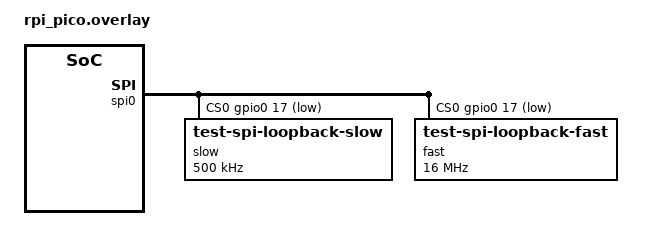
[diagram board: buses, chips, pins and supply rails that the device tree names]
/*
 * Copyright (c) 2022 TOKITA Hiroshi <tokita.hiroshi@fujitsu.com>
 *
 * SPDX-License-Identifier: Apache-2.0
 */

&spi0 {
	cs-gpios = <&gpio0 17 GPIO_ACTIVE_LOW>;
	slow@0 {
		compatible = "test-spi-loopback-slow";
		reg = <0>;
		spi-max-frequency = <500000>;
	};
	fast@0 {
		compatible = "test-spi-loopback-fast";
		reg = <0>;
		spi-max-frequency = <16000000>;
	};
};
